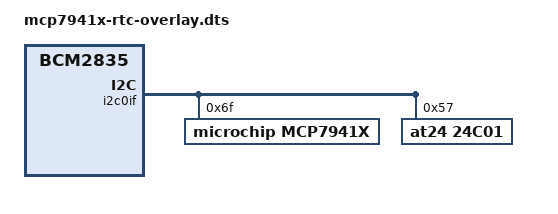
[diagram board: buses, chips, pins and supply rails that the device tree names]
// Definitions for several I2C based Real Time Clocks
/dts-v1/;
/plugin/;

/ {
        compatible = "brcm,bcm2835";

        fragment@0 {
                target = <&i2c0if>;
                __overlay__ {
                        #address-cells = <1>;
                        #size-cells = <0>;

                        mcp7941x: mcp7941x@6f {
                                compatible = "microchip,mcp7941x";
                                reg = <0x6f>;
                                status = "okay";
                        };

                        24c01@57 {
                                compatible = "at24,24c01";
                                status = "okay";
                                reg = < 0x57 >;
                        };

                };
        };

};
